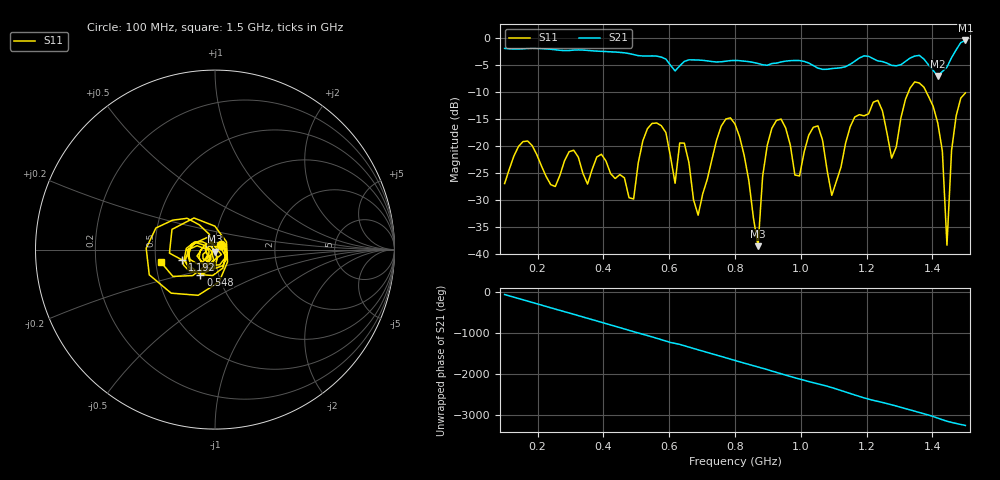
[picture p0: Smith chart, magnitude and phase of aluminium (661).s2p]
! NanoVNA-App
! Date: 2025-09-25 15:00:25
! Start: 100MHz Stop: 1,5GHz Points: 101
! S-Parameter data: F S11 S21 S12 S22
# Hz S RI R 50
!  Frequency  S11_Real  S11_Imag  S21_Real  S21_Imag  S12_Real  S12_Imag  S22_Real  S22_Imag
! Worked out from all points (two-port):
!   101 points, 100 MHz to 1.5 GHz, reference 50 ohm
!   highest |S21| = -0.45 dB at 1.5 GHz (marker M1); lowest = -7.0 dB at 1.416 GHz (marker M2)
!   |S21| within 3 dB of the highest: start of sweep to 569.8 MHz; 1.46 GHz to end of sweep (the widest 2 of 4)
!   lowest |S11| = -38.6 dB at 870 MHz (marker M3), VSWR 1.02, Z = 50.2 - j1.17 ohm
!   |S11| at or under -10 dB: start of sweep to 1.327 GHz; 1.381 GHz to end of sweep
!   S12 and S22 are empty: the file has one direction only
!   S11 on the Smith chart (normalised r, x): 100 MHz: 1.07, +0.06; 548 MHz: 0.82, -0.24; 1.192 GHz: 0.69, -0.08; 1.5 GHz: 0.53, -0.08
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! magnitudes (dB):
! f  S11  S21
! 100 MHz  -27.0  -1.9
! 156 MHz  -19.2  -2.0
! 338 MHz  -25.1  -2.2
! 492 MHz  -29.8  -3.1
! 548 MHz  -15.8  -3.3
! 576 MHz  -16.2  -3.5
! 618 MHz  -26.9  -6.1
! 646 MHz  -19.5  -4.3
! 688 MHz  -32.8  -4.1
! 800 MHz  -15.9  -4.1
! 870 MHz  -38.6  -4.7
! 912 MHz  -16.7  -4.7
! 996 MHz  -25.6  -4.2
! 1.038 GHz  -16.5  -5.1
! 1.094 GHz  -29.1  -5.7
! 1.192 GHz  -14.4  -3.3
! 1.276 GHz  -22.2  -5.1
! 1.346 GHz  -8.1  -3.3
! 1.416 GHz  -15.7  -7.0
! 1.444 GHz  -38.4  -5.4
! 1.458 GHz  -20.8  -3.6
! 1.5 GHz  -10.2  -0.4
